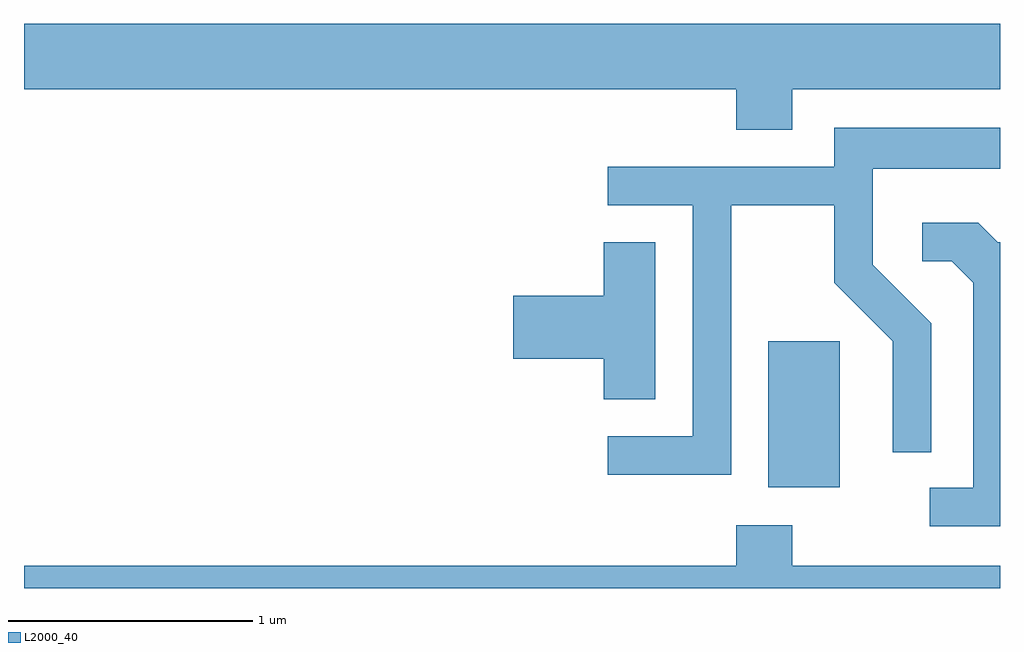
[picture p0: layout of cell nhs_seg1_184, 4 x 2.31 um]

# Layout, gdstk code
import gdstk
lib = gdstk.Library(unit=1e-6, precision=1e-09)
def R(c, l, rs):  # rectangles x0, y0, x1, y1
    for r in rs: c.add(gdstk.rectangle(r[:2], r[2:], *l))
def P(c, l, *ps):  # polygons
    for p in ps: c.add(gdstk.Polygon(p, *l))
L2000_40 = (2000, 40)

nhs_seg1_184 = lib.new_cell('nhs_seg1_184')
R(nhs_seg1_184, L2000_40, [(192.661,940.126,192.954,940.724)])
P(nhs_seg1_184, L2000_40, [(192.759,941.756),(193.611,941.756),(193.611,942.024),(189.611,942.024),(189.611,941.756),(192.531,941.756),(192.531,941.591),(192.759,941.591)],
  [(192.509,941.281),(192.931,941.281),(192.931,940.964),(193.171,940.724),(193.171,940.268),(193.329,940.268),(193.329,940.797),(193.089,941.037),(193.089,941.431),(193.611,941.431),(193.611,941.599),(192.931,941.599),(192.931,941.439),(192.003,941.439),(192.003,941.281),(192.351,941.281),(192.351,940.334),(192.003,940.334),(192.003,940.176),(192.509,940.176)],
  [(193.611,941.129),(193.602,941.129),(193.522,941.209),(193.293,941.209),(193.293,941.051),(193.414,941.051),(193.501,940.964),(193.501,940.124),(193.323,940.124),(193.323,939.966),(193.611,939.966)],
  [(192.199,941.129),(191.986,941.129),(191.986,940.909),(191.616,940.909),(191.616,940.651),(191.986,940.651),(191.986,940.486),(192.199,940.486)],
  [(193.611,939.804),(192.759,939.804),(192.759,939.969),(192.531,939.969),(192.531,939.804),(189.611,939.804),(189.611,939.712),(193.611,939.712)])

lib.write_gds('nhs_seg1_184.gds')
